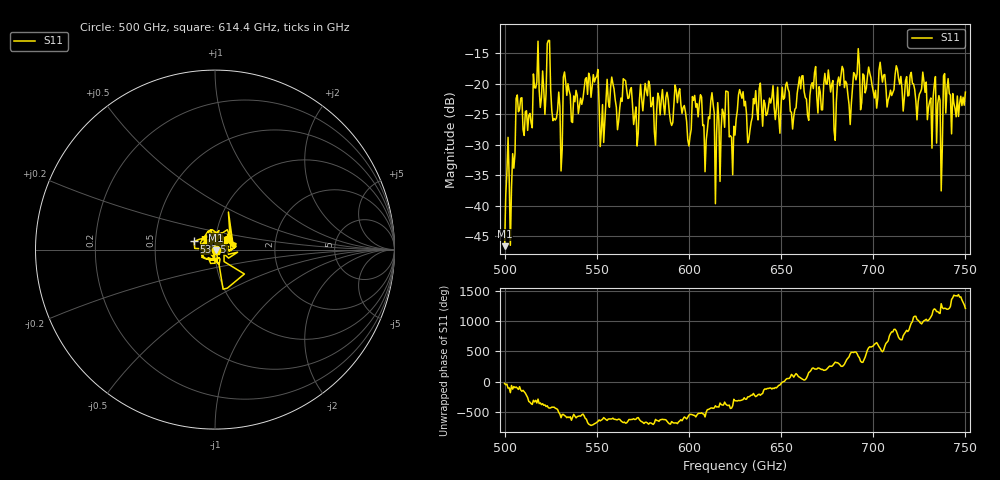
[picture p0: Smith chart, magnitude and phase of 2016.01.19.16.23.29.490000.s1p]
!Created with skrf (http://scikit-rf.org).
# GHz S RI R 50.0
!freq ReS11 ImS11
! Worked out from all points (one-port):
!   401 points, 500 GHz to 750 GHz, reference 50 ohm
!   lowest |S11| = -46.6 dB at 500 GHz (marker M1), VSWR 1.01, Z = 50.4 - j0.244 ohm
!   |S11| at or under -10 dB: start of sweep to end of sweep
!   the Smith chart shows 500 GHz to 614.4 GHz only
!   S11 on the Smith chart (normalised r, x): 500 GHz: 1.01, -0.00; 532.5 GHz: 0.79, +0.07; 614.4 GHz: 1.02, -0.01
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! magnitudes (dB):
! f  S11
! 500 GHz  -46.6
! 504.4 GHz  -31.5
! 507.5 GHz  -24.6
! 513.8 GHz  -24.9
! 516.9 GHz  -20.7
! 520.6 GHz  -17.9
! 523.8 GHz  -12.9
! 526.9 GHz  -25.7
! 531.2 GHz  -30.7
! 532.5 GHz  -18.1
! 562.5 GHz  -23.9
! 593.8 GHz  -23.1
! 600 GHz  -30.2
! 603.1 GHz  -21.9
! 614.4 GHz  -39.6
! 620 GHz  -21.2
! 625 GHz  -28.4
! 628.1 GHz  -21.7
! 633.1 GHz  -27.6
! 637.5 GHz  -25.9
! 656.2 GHz  -27.4
! 660.6 GHz  -20.9
! 687.5 GHz  -26.7
! 691.2 GHz  -18.4
! 718.8 GHz  -22.0
! 736.2 GHz  -22.7
! 739.4 GHz  -24.8
! 750 GHz  -21.4
